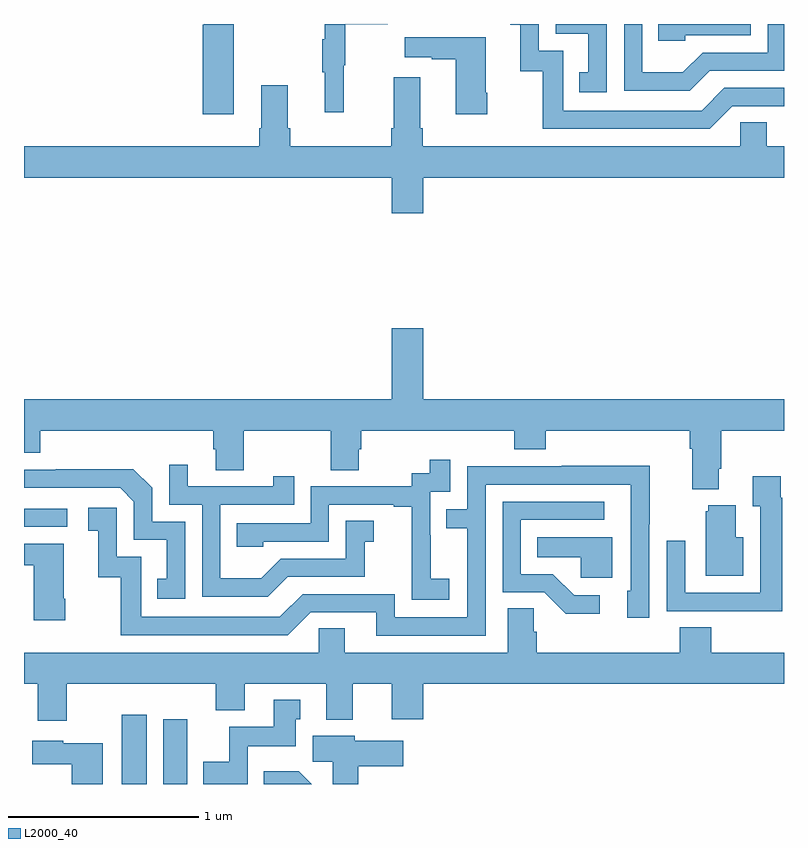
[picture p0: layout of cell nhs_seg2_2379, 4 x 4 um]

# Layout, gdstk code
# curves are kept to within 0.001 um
import gdstk
lib = gdstk.Library(unit=1e-6, precision=1e-09)
def R(c, l, rs):  # rectangles x0, y0, x1, y1
    for r in rs: c.add(gdstk.rectangle(r[:2], r[2:], *l))
def P(c, l, *ps):  # polygons
    for p in ps: c.add(gdstk.Polygon(p, *l))
L2000_40 = (2000, 40)

nhs_seg2_2379 = lib.new_cell('nhs_seg2_2379')
R(nhs_seg2_2379, L2000_40, [(235.514,621.8,235.645,622.165), (235.733,621.8,235.858,622.141), (235,623.154,235.228,623.25)])
P(nhs_seg2_2379, L2000_40, [(238.609,625.554),(239,625.554),(239,625.8),(238.914,625.8),(238.914,625.65),(238.572,625.65),(238.468,625.546),(238.254,625.546),(238.254,625.8),(238.158,625.8),(238.158,625.449),(238.504,625.449)],
  [(236.104,625.8),(235.946,625.8),(235.946,625.797),(235.94,625.797),(235.94,625.326),(236.104,625.326)],
  [(238.068,625.8),(237.798,625.8),(237.798,625.749),(237.971,625.749),(237.971,625.545),(237.922,625.545),(237.922,625.44),(238.068,625.44)],
  [(236.684,625.584),(236.692,625.584),(236.692,625.798),(236.915,625.798),(236.915,625.8),(236.582,625.8),(236.582,625.721),(236.571,625.721),(236.571,625.547),(236.582,625.547),(236.582,625.335),(236.684,625.335)],
  [(238.479,625.74),(238.824,625.74),(238.824,625.8),(238.339,625.8),(238.339,625.713),(238.479,625.713)],
  [(238.728,625.368),(239,625.368),(239,625.464),(238.686,625.464),(238.566,625.344),(237.837,625.344),(237.837,625.659),(237.708,625.659),(237.708,625.8),(237.558,625.8),(237.558,625.797),(237.611,625.797),(237.611,625.551),(237.729,625.551),(237.729,625.248),(238.608,625.248)],
  [(237.438,625.438),(237.43,625.438),(237.43,625.729),(237.003,625.729),(237.003,625.625),(237.146,625.625),(237.146,625.615),(237.272,625.615),(237.272,625.326),(237.438,625.326)],
  [(237.1,624.992),(239,624.992),(239,625.156),(238.909,625.156),(238.909,625.283),(238.77,625.283),(238.77,625.156),(237.098,625.156),(237.098,625.252),(237.085,625.252),(237.085,625.519),(236.945,625.519),(236.945,625.252),(236.933,625.252),(236.933,625.156),(236.402,625.156),(236.402,625.252),(236.389,625.252),(236.389,625.477),(236.249,625.477),(236.249,625.252),(236.237,625.252),(236.237,625.156),(235,625.156),(235,624.992),(236.936,624.992),(236.936,624.804),(237.1,624.804)],
  [(235,623.543),(235.085,623.543),(235.085,623.66),(235.997,623.66),(235.997,623.562),(236.009,623.562),(236.009,623.452),(236.157,623.452),(236.157,623.66),(236.614,623.66),(236.614,623.452),(236.761,623.452),(236.761,623.562),(236.774,623.562),(236.774,623.66),(237.581,623.66),(237.581,623.561),(237.746,623.561),(237.746,623.66),(238.505,623.66),(238.505,623.564),(238.517,623.564),(238.517,623.351),(238.657,623.351),(238.657,623.458),(238.67,623.458),(238.67,623.66),(239,623.66),(239,623.824),(237.1,623.824),(237.1,624.199),(236.936,624.199),(236.936,623.824),(235,623.824)],
  [(237.238,622.879),(237.14,622.879),(237.14,623.108),(237.138,623.108),(237.138,623.337),(237.243,623.337),(237.243,623.506),(237.135,623.506),(237.135,623.436),(237.042,623.436),(237.042,623.367),(236.508,623.367),(236.508,623.172),(236.119,623.172),(236.119,623.049),(236.259,623.049),(236.259,623.076),(236.604,623.076),(236.604,623.271),(236.945,623.271),(236.945,623.259),(237.041,623.259),(237.041,622.975),(237.04,622.975),(237.04,622.769),(237.238,622.769)],
  [(236.389,622.89),(236.793,622.89),(236.793,623.075),(236.842,623.075),(236.842,623.185),(236.694,623.185),(236.694,622.986),(236.352,622.986),(236.248,622.882),(236.034,622.882),(236.034,623.271),(236.423,623.271),(236.423,623.419),(236.312,623.419),(236.312,623.367),(235.861,623.367),(235.861,623.479),(235.764,623.479),(235.764,623.271),(235.938,623.271),(235.938,622.785),(236.284,622.785)],
  [(237.429,623.376),(238.193,623.376),(238.194,622.818),(238.175,622.818),(238.175,622.674),(238.29,622.674),(238.29,623.167),(238.293,623.167),(238.293,623.474),(237.829,623.474),(237.829,623.472),(237.333,623.472),(237.333,623.247),(237.223,623.247),(237.223,623.146),(237.333,623.146),(237.333,622.677),(236.952,622.677),(236.952,622.8),(236.466,622.8),(236.346,622.68),(235.617,622.68),(235.617,622.995),(235.488,622.995),(235.488,623.254),(235.338,623.254),(235.338,623.133),(235.391,623.133),(235.391,622.887),(235.509,622.887),(235.509,622.584),(236.388,622.584),(236.508,622.704),(236.855,622.704),(236.855,622.581),(237.429,622.581)],
  [(235.848,623.181),(235.674,623.181),(235.674,623.358),(235.576,623.456),(235.168,623.456),(235.168,623.454),(235,623.454),(235,623.358),(235.506,623.358),(235.578,623.286),(235.578,623.085),(235.751,623.085),(235.751,622.881),(235.702,622.881),(235.702,622.776),(235.848,622.776)],
  [(238.991,623.306),(238.984,623.306),(238.984,623.419),(238.835,623.419),(238.835,623.263),(238.875,623.263),(238.875,622.806),(238.479,622.806),(238.479,623.08),(238.383,623.08),(238.383,622.71),(238.699,622.71),(238.699,622.709),(238.991,622.709)],
  [(238.03,622.794),(237.895,622.794),(237.784,622.905),(237.615,622.905),(237.615,623.19),(238.054,623.19),(238.054,623.286),(237.519,623.286),(237.519,622.809),(237.738,622.809),(237.851,622.697),(238.03,622.697)],
  [(238.786,623.098),(238.747,623.098),(238.747,623.266),(238.601,623.266),(238.601,623.235),(238.589,623.235),(238.589,622.895),(238.786,622.895)],
  [(238.096,623.098),(237.7,623.098),(237.7,622.994),(237.931,622.994),(237.931,622.886),(238.096,622.886)],
  [(235.218,622.774),(235.21,622.774),(235.21,623.065),(235,623.065),(235,622.951),(235.052,622.951),(235.052,622.662),(235.218,622.662)],
  [(235.225,622.328),(236.009,622.328),(236.009,622.187),(236.161,622.187),(236.161,622.328),(236.591,622.328),(236.591,622.139),(236.731,622.139),(236.731,622.328),(236.936,622.328),(236.936,622.14),(237.1,622.14),(237.1,622.328),(239,622.328),(239,622.492),(238.616,622.492),(238.616,622.625),(238.451,622.625),(238.451,622.492),(237.698,622.492),(237.698,622.601),(237.684,622.601),(237.684,622.724),(237.545,622.724),(237.545,622.492),(236.689,622.492),(236.689,622.619),(236.55,622.619),(236.55,622.492),(235,622.492),(235,622.328),(235.073,622.328),(235.073,622.134),(235.225,622.134)],
  [(236.178,621.998),(236.431,621.998),(236.431,622.14),(236.455,622.14),(236.455,622.243),(236.315,622.243),(236.315,622.102),(236.08,622.102),(236.08,621.916),(235.943,621.916),(235.943,621.8),(236.178,621.8)],
  [(236.759,621.893),(236.995,621.893),(236.995,622.027),(236.742,622.027),(236.742,622.054),(236.519,622.054),(236.519,621.916),(236.624,621.916),(236.624,621.8),(236.759,621.8)],
  [(235.414,622.015),(235.206,622.015),(235.206,622.027),(235.044,622.027),(235.044,621.905),(235.252,621.905),(235.252,621.8),(235.414,621.8)],
  [(236.446,621.868),(236.263,621.868),(236.263,621.8),(236.514,621.8)])

lib.write_gds('nhs_seg2_2379.gds')
